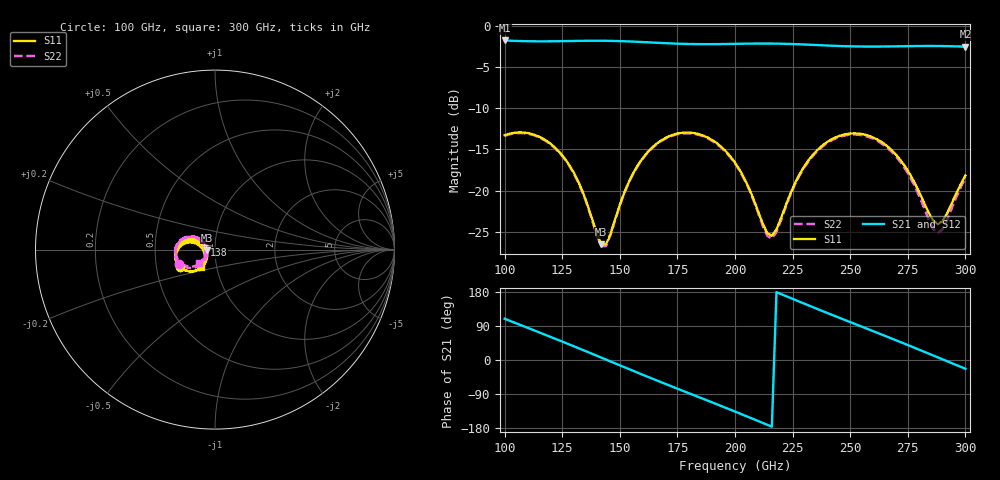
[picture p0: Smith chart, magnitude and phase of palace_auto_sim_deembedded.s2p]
! Created with skrf 1.11.0 (http://scikit-rf.org).
# GHz S DB R 50.0
!freq dBS11 angS11 dBS21 angS21 dBS12 angS12 dBS22 angS22
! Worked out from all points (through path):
!   101 points, 100 GHz to 300 GHz, reference 50 ohm
!   highest |S21| = -1.71 dB at 100 GHz (marker M1); lowest = -2.5 dB at 300 GHz (marker M2)
!   group delay of S21, straight-line fit = 6.83 ps
!   lowest |S11| = -26.6 dB at 142 GHz (marker M3), VSWR 1.10, Z = 45.5 - j0.221 ohm
!   |S11| at or under -10 dB: start of sweep to end of sweep
!   |S22| runs from -26.8 to -13.0 dB; largest |S21 - S12| = 9.4e-14
!   S11 on the Smith chart (normalised r, x): 100 GHz: 0.66, -0.13; 138 GHz: 0.88, +0.05; 300 GHz: 0.84, -0.16
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100  -13.26 -153.5  -1.71 109.0  -1.71 109.0  -13.34 -158.2
108  -12.93 -169.5  -1.79 89.7  -1.79 89.7  -13.00 -174.5
116  -13.58 175.0  -1.82 70.5  -1.82 70.5  -13.66 169.6
126  -16.07 157.8  -1.79 46.2  -1.79 46.2  -16.16 151.9
134  -20.23 151.2  -1.76 26.3  -1.76 26.3  -20.35 144.8
138  -23.49 157.4  -1.75 16.3  -1.75 16.3  -23.64 150.7
142  -26.57 -177.0  -1.75 6.2  -1.75 6.2  -26.78 176.4
144  -26.57 -157.4  -1.76 1.2  -1.76 1.2  -26.77 -163.7
154  -18.90 -126.0  -1.83 -24.0  -1.83 -24.0  -18.99 -132.7
168  -13.89 -145.5  -2.02 -58.7  -2.02 -58.7  -13.98 -153.1
184  -13.11 -175.1  -2.16 -97.3  -2.16 -97.3  -13.20 176.4
200  -16.60 159.2  -2.12 -136.1  -2.12 -136.1  -16.72 149.6
208  -21.02 157.4  -2.09 -155.9  -2.09 -155.9  -21.19 147.1
216  -25.51 -162.0  -2.09 -176.0  -2.09 -176.0  -25.86 -171.9
224  -20.41 -127.8  -2.14 163.9  -2.14 163.9  -20.59 -137.4
234  -15.59 -134.0  -2.25 139.0  -2.25 139.0  -15.72 -144.5
244  -13.48 -150.0  -2.37 114.5  -2.37 114.5  -13.61 -161.3
252  -13.04 -164.1  -2.44 95.3  -2.44 95.3  -13.18 -176.0
268  -15.08 169.8  -2.44 56.6  -2.44 56.6  -15.28 156.4
278  -19.07 162.5  -2.39 32.0  -2.39 32.0  -19.46 147.5
288  -24.09 -164.0  -2.39 7.0  -2.39 7.0  -25.18 -176.6
300  -18.17 -128.8  -2.47 -23.1  -2.47 -23.1  -18.49 -139.4
